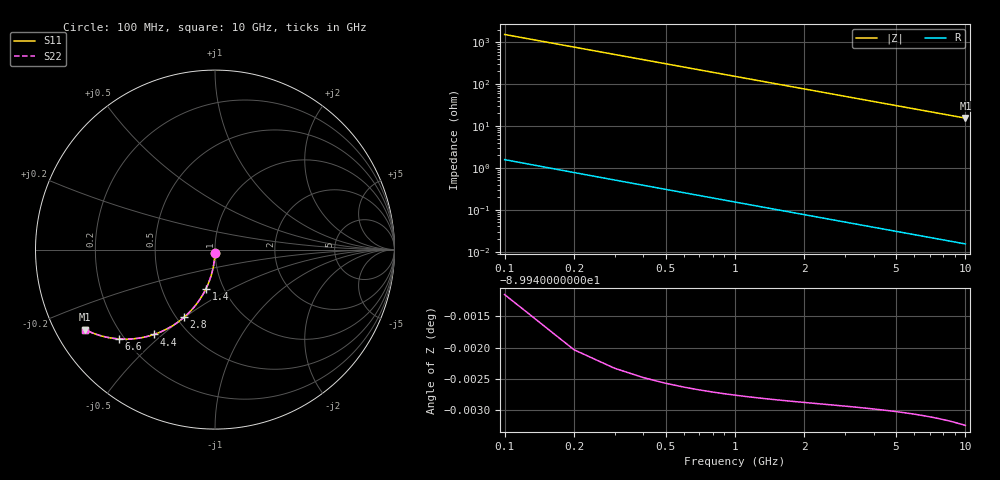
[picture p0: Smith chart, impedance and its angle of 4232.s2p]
# Hz S RI R 50.00
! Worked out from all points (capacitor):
!   100 points, 100 MHz to 10 GHz, reference 50 ohm
!   read as one part in shunt: C = 1.04 pF near 100 MHz
!   lowest |Z| = 15.4 ohm at 10 GHz (marker M1)
!   S11 on the Smith chart (normalised r, x): 100 MHz: 1.00, -0.03; 1.4 GHz: 0.83, -0.38; 2.8 GHz: 0.55, -0.50; 4.4 GHz: 0.33, -0.47; 6.6 GHz: 0.18, -0.38; 10 GHz: 0.09, -0.28
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1e8  -0.000278 -0.0163  0.9997 -0.0163  0.9997 -0.0163  -0.000278 -0.0163
2e8  -0.00109 -0.0326  0.9989 -0.0326  0.9989 -0.0326  -0.00109 -0.0326
3e8  -0.00244 -0.0488  0.9976 -0.0489  0.9976 -0.0489  -0.00244 -0.0488
4e8  -0.00431 -0.065  0.9957 -0.0651  0.9957 -0.0651  -0.00431 -0.065
5e8  -0.0067 -0.081  0.9933 -0.0811  0.9933 -0.0811  -0.0067 -0.081
6e8  -0.00959 -0.097  0.9904 -0.0971  0.9904 -0.0971  -0.00959 -0.097
7e8  -0.013 -0.1127  0.987 -0.1128  0.987 -0.1128  -0.013 -0.1127
9e8  -0.0213 -0.1437  0.9787 -0.1439  0.9787 -0.1439  -0.0213 -0.1437
1.1e9  -0.0314 -0.1738  0.9686 -0.174  0.9686 -0.174  -0.0314 -0.1738
1.4e9  -0.0498 -0.2169  0.9502 -0.2172  0.9502 -0.2172  -0.0498 -0.2169
1.8e9  -0.0796 -0.2701  0.9204 -0.2704  0.9204 -0.2704  -0.0796 -0.2701
2.3e9  -0.1236 -0.3284  0.8764 -0.3289  0.8764 -0.3289  -0.1236 -0.3284
2.8e9  -0.1727 -0.3773  0.8273 -0.3778  0.8273 -0.3778  -0.1727 -0.3773
3.4e9  -0.2352 -0.4233  0.7648 -0.4239  0.7648 -0.4239  -0.2352 -0.4233
4.4e9  -0.3395 -0.4726  0.6605 -0.4734  0.6605 -0.4734  -0.3395 -0.4726
5.1e9  -0.4081 -0.4905  0.5919 -0.4915  0.5919 -0.4915  -0.4081 -0.4905
5.8e9  -0.4711 -0.4981  0.5289 -0.4992  0.5289 -0.4992  -0.4711 -0.4981
6.6e9  -0.5352 -0.4976  0.4648 -0.4989  0.4648 -0.4989  -0.5352 -0.4976
6.7e9  -0.5427 -0.4971  0.4573 -0.4983  0.4573 -0.4983  -0.5427 -0.4971
7.5e9  -0.5976 -0.4892  0.4024 -0.4906  0.4024 -0.4906  -0.5976 -0.4892
8.4e9  -0.6503 -0.4756  0.3496 -0.4771  0.3496 -0.4771  -0.6503 -0.4756
1e10  -0.7245 -0.4453  0.2755 -0.4472  0.2755 -0.4472  -0.7245 -0.4453
